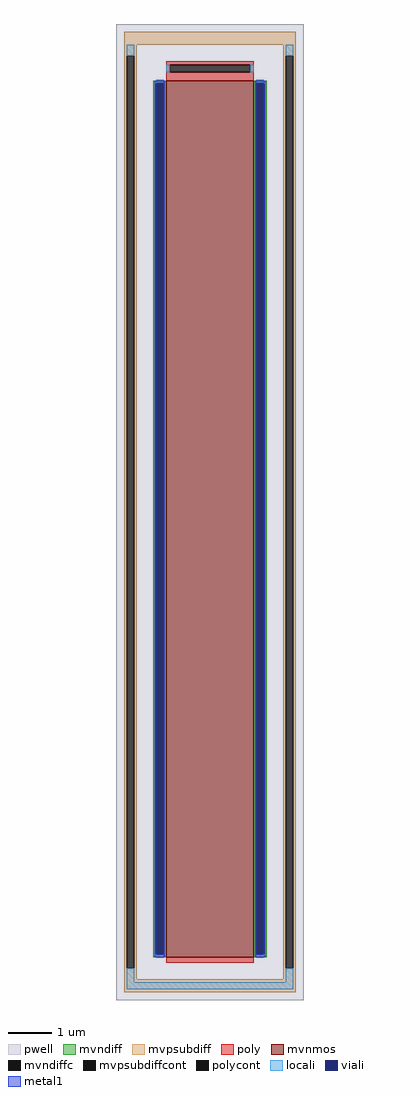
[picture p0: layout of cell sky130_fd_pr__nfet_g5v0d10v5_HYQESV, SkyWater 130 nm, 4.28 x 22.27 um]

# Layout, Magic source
magic
tech sky130A
magscale 1 2
<< pwell >>
rect -428 -2227 428 2227
<< mvnmos >>
rect -200 -2031 200 1969
<< mvndiff >>
rect -258 1957 -200 1969
rect -258 -2019 -246 1957
rect -212 -2019 -200 1957
rect -258 -2031 -200 -2019
rect 200 1957 258 1969
rect 200 -2019 212 1957
rect 246 -2019 258 1957
rect 200 -2031 258 -2019
<< mvndiffc >>
rect -246 -2019 -212 1957
rect 212 -2019 246 1957
<< mvpsubdiff >>
rect -392 2133 392 2191
rect -392 2083 -334 2133
rect -392 -2083 -380 2083
rect -346 -2083 -334 2083
rect 334 2083 392 2133
rect -392 -2133 -334 -2083
rect 334 -2083 346 2083
rect 380 -2083 392 2083
rect 334 -2133 392 -2083
rect -392 -2191 392 -2133
<< mvpsubdiffcont >>
rect -380 -2083 -346 2083
rect 346 -2083 380 2083
<< poly >>
rect -200 2041 200 2057
rect -200 2007 -184 2041
rect 184 2007 200 2041
rect -200 1969 200 2007
rect -200 -2057 200 -2031
<< polycont >>
rect -184 2007 184 2041
<< locali >>
rect -380 2083 -346 2132
rect 346 2083 380 2132
rect -200 2007 -184 2041
rect 184 2007 200 2041
rect -246 1957 -212 1973
rect -246 -2035 -212 -2019
rect 212 1957 246 1973
rect 212 -2035 246 -2019
rect -380 -2145 -346 -2083
rect 346 -2145 380 -2083
rect -380 -2179 380 -2145
<< viali >>
rect -246 -2019 -212 1957
rect 212 -2019 246 1957
<< metal1 >>
rect -252 1957 -206 1969
rect -252 -2019 -246 1957
rect -212 -2019 -206 1957
rect -252 -2031 -206 -2019
rect 206 1957 252 1969
rect 206 -2019 212 1957
rect 246 -2019 252 1957
rect 206 -2031 252 -2019
<< properties >>
string FIXED_BBOX -363 -2162 363 2162
string gencell sky130_fd_pr__nfet_g5v0d10v5
string library sky130
string parameters w 20 l 2 m 1 nf 1 diffcov 100 polycov 100 guard 1 glc 1 grc 1 gtc 0 gbc 0 tbcov 100 rlcov 100 topc 1 botc 0 poverlap 0 doverlap 1 lmin 0.50 wmin 0.42 compatible {sky130_fd_pr__nfet_01v8 sky130_fd_pr__nfet_01v8_lvt  sky130_fd_bs_flash__special_sonosfet_star  sky130_fd_pr__nfet_g5v0d10v5 sky130_fd_pr__nfet_05v0_nvt  sky130_fd_pr__nfet_03v3_nvt} full_metal 1 viasrc 100 viadrn 100 viagate 100 viagb 0 viagr 0 viagl 0 viagt 0
<< end >>
